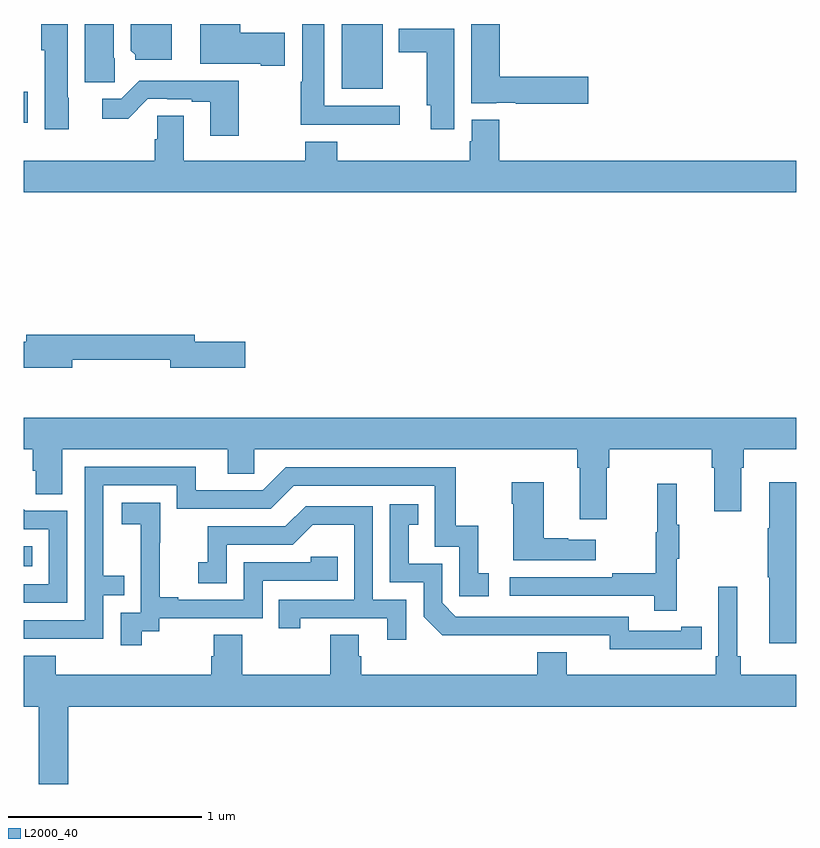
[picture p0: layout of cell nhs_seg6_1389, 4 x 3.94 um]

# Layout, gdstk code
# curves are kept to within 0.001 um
import gdstk
lib = gdstk.Library(unit=1e-6, precision=1e-09)
def R(c, l, rs):  # rectangles x0, y0, x1, y1
    for r in rs: c.add(gdstk.rectangle(r[:2], r[2:], *l))
def P(c, l, *ps):  # polygons
    for p in ps: c.add(gdstk.Polygon(p, *l))
L2000_40 = (2000, 40)

nhs_seg6_1389 = lib.new_cell('nhs_seg6_1389')
R(nhs_seg6_1389, L2000_40, [(195,986.69,195.044,986.794), (195,988.989,195.019,989.15), (196.646,989.165,196.858,989.5)])
P(nhs_seg6_1389, L2000_40, [(195.232,989.118),(195.226,989.118),(195.226,989.5),(195.089,989.5),(195.089,989.364),(195.107,989.364),(195.107,988.956),(195.232,988.956)],
  [(195.766,989.5),(195.554,989.5),(195.554,989.362),(195.576,989.34),(195.576,989.315),(195.766,989.315)],
  [(195.47,989.322),(195.466,989.322),(195.466,989.5),(195.314,989.5),(195.314,989.199),(195.47,989.199)],
  [(197.923,989.228),(197.465,989.228),(197.465,989.5),(197.318,989.5),(197.318,989.09),(197.448,989.09),(197.448,989.093),(197.548,989.093),(197.548,989.086),(197.923,989.086)],
  [(196.351,989.455),(196.12,989.455),(196.12,989.5),(195.914,989.5),(195.914,989.294),(196.227,989.294),(196.227,989.285),(196.351,989.285)],
  [(196.948,989.076),(196.555,989.076),(196.555,989.5),(196.442,989.5),(196.442,989.201),(196.435,989.201),(196.435,988.979),(196.948,988.979)],
  [(197.23,989.476),(196.943,989.476),(196.943,989.354),(197.087,989.354),(197.087,989.079),(197.108,989.079),(197.108,988.956),(197.23,988.956)],
  [(196.113,989.206),(195.598,989.206),(195.504,989.112),(195.405,989.112),(195.405,989.01),(195.54,989.01),(195.642,989.112),(195.742,989.112),(195.742,989.109),(195.869,989.109),(195.869,989.097),(195.965,989.097),(195.965,988.92),(196.113,988.92)],
  [(199,988.792),(197.462,988.792),(197.462,989.005),(197.321,989.005),(197.321,988.893),(197.309,988.893),(197.309,988.792),(196.622,988.792),(196.622,988.891),(196.457,988.891),(196.457,988.792),(195.829,988.792),(195.829,989.024),(195.69,989.024),(195.69,988.902),(195.677,988.902),(195.677,988.792),(195,988.792),(195,988.628),(199,988.628)],
  [(195.25,987.762),(195.758,987.762),(195.758,987.719),(196.147,987.719),(196.147,987.854),(195.886,987.854),(195.886,987.89),(195.011,987.89),(195.011,987.854),(195,987.854),(195,987.719),(195.25,987.719)],
  [(198.019,987.2),(198.032,987.2),(198.032,987.296),(198.563,987.296),(198.563,987.2),(198.575,987.2),(198.575,986.976),(198.715,986.976),(198.715,987.2),(198.728,987.2),(198.728,987.296),(199,987.296),(199,987.46),(195,987.46),(195,987.296),(195.047,987.296),(195.047,987.187),(195.06,987.187),(195.06,987.064),(195.199,987.064),(195.199,987.296),(196.055,987.296),(196.055,987.169),(196.194,987.169),(196.194,987.296),(197.867,987.296),(197.867,987.2),(197.879,987.2),(197.879,986.934),(198.019,986.934)],
  [(195.411,986.541),(195.521,986.541),(195.521,986.642),(195.411,986.642),(195.411,987.111),(195.792,987.111),(195.792,986.988),(196.278,986.988),(196.398,987.108),(197.127,987.108),(197.127,986.793),(197.256,986.793),(197.256,986.535),(197.407,986.535),(197.407,986.655),(197.354,986.655),(197.354,986.902),(197.236,986.902),(197.236,987.204),(196.356,987.204),(196.236,987.084),(195.889,987.084),(195.889,987.207),(195.315,987.207),(195.315,986.412),(195,986.412),(195,986.316),(195.411,986.316)],
  [(199,987.127),(198.86,987.127),(198.86,986.888),(198.853,986.888),(198.853,986.635),(198.86,986.635),(198.86,986.292),(199,986.292)],
  [(197.962,986.827),(197.819,986.827),(197.819,986.837),(197.692,986.837),(197.692,987.127),(197.527,987.127),(197.527,987.014),(197.534,987.014),(197.534,986.723),(197.962,986.723)],
  [(198.383,986.731),(198.394,986.731),(198.394,986.905),(198.383,986.905),(198.383,987.118),(198.28,987.118),(198.28,986.868),(198.273,986.868),(198.273,986.654),(198.049,986.654),(198.049,986.634),(197.517,986.634),(197.517,986.538),(198.265,986.538),(198.265,986.46),(198.383,986.46)],
  [(195.61,986.353),(195.702,986.353),(195.702,986.421),(196.236,986.421),(196.236,986.616),(196.625,986.616),(196.625,986.739),(196.485,986.739),(196.485,986.712),(196.14,986.712),(196.14,986.517),(195.799,986.517),(195.799,986.53),(195.704,986.53),(195.704,986.813),(195.705,986.813),(195.705,987.019),(195.507,987.019),(195.507,986.909),(195.605,986.909),(195.605,986.681),(195.606,986.681),(195.606,986.451),(195.501,986.451),(195.501,986.283),(195.61,986.283)],
  [(198.404,986.262),(198.512,986.262),(198.512,986.378),(198.404,986.378),(198.404,986.358),(198.132,986.358),(198.132,986.43),(197.238,986.43),(197.166,986.502),(197.166,986.703),(196.993,986.703),(196.993,986.907),(197.042,986.907),(197.042,987.013),(196.896,987.013),(196.896,986.607),(197.07,986.607),(197.07,986.43),(197.168,986.333),(198.036,986.334),(198.036,986.261)],
  [(196.98,986.517),(196.806,986.517),(196.806,987.003),(196.46,987.003),(196.355,986.898),(195.952,986.898),(195.952,986.713),(195.903,986.713),(195.903,986.604),(196.05,986.604),(196.05,986.802),(196.392,986.802),(196.496,986.906),(196.71,986.906),(196.71,986.517),(196.321,986.517),(196.321,986.37),(196.432,986.37),(196.432,986.421),(196.883,986.421),(196.883,986.31),(196.98,986.31)],
  [(195.225,986.979),(195.006,986.979),(195,986.985),(195,986.883),(195.129,986.883),(195.129,986.598),(195,986.598),(195,986.502),(195.225,986.502)],
  [(195.23,985.964),(199,985.964),(199,986.128),(198.713,986.128),(198.713,986.224),(198.694,986.224),(198.694,986.584),(198.597,986.584),(198.597,986.224),(198.584,986.224),(198.584,986.128),(197.812,986.128),(197.812,986.245),(197.66,986.245),(197.66,986.128),(196.748,986.128),(196.748,986.226),(196.735,986.226),(196.735,986.336),(196.588,986.336),(196.588,986.128),(196.131,986.128),(196.131,986.336),(195.983,986.336),(195.983,986.226),(195.971,986.226),(195.971,986.128),(195.164,986.128),(195.164,986.227),(195,986.227),(195,985.964),(195.077,985.964),(195.077,985.563),(195.23,985.563)])

lib.write_gds('nhs_seg6_1389.gds')
